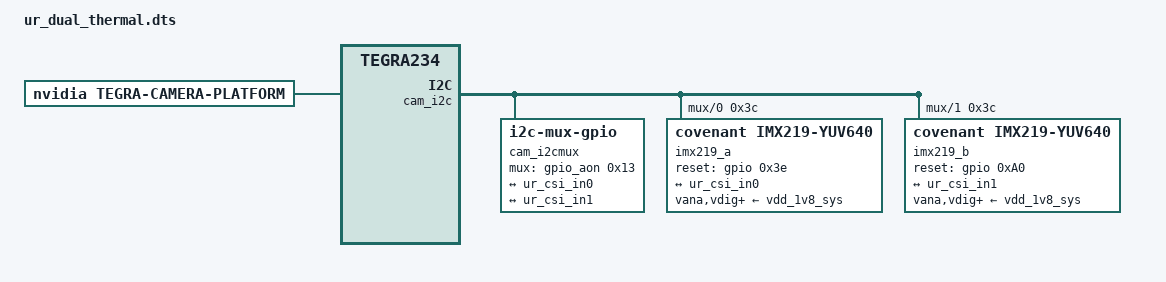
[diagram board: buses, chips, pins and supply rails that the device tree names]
/dts-v1/;
/plugin/;

/ {
    overlay-name = "UR Series Thermal Camera Dual";
    jetson-header-name = "Jetson 24pin CSI Connector";
    compatible = "nvidia,p3768-0000+p3767-0005-super", "nvidia,p3767-0005", "nvidia,tegra234";

    /* =========================================================
     * Fragment 0: VI + CSI + tegra-camera-platform + cam_i2cmux
     * All in one fragment targeting "/" exactly like the
     * NVIDIA reference IMX219 dual overlay.
     * ========================================================= */
    fragment@0 {
        target-path = "/";
        __overlay__ {

            /* --- Video Input --- */
            tegra-capture-vi {
                num-channels = <2>;
                ports {
                    #address-cells = <1>;
                    #size-cells = <0>;

                    port@0 {
                        reg = <0>;
                        ur_vi_in0: endpoint {
                            port-index = <1>; /* CSI B - CAM0 */
                            bus-width = <2>;
                            remote-endpoint = <&ur_csi_out0>;
                        };
                    };

                    port@1 {
                        reg = <1>;
                        ur_vi_in1: endpoint {
                            port-index = <2>; /* CSI C - CAM1 */
                            bus-width = <2>;
                            remote-endpoint = <&ur_csi_out1>;
                        };
                    };
                };
            };

            bus@0 {

                /* --- CSI --- */
                host1x@13e00000 {
                    nvcsi@15a00000 {
                        num-channels = <2>;
                        #address-cells = <1>;
                        #size-cells = <0>;

                        channel@0 {
                            reg = <0>;
                            ports {
                                #address-cells = <1>;
                                #size-cells = <0>;
                                port@0 {
                                    reg = <0>;
                                    ur_csi_in0: endpoint@0 {
                                        port-index = <1>; /* CSI B */
                                        bus-width = <2>;
                                        remote-endpoint = <&ur_out0>;
                                    };
                                };
                                port@1 {
                                    reg = <1>;
                                    ur_csi_out0: endpoint@1 {
                                        remote-endpoint = <&ur_vi_in0>;
                                    };
                                };
                            };
                        };

                        channel@1 {
                            reg = <1>;
                            ports {
                                #address-cells = <1>;
                                #size-cells = <0>;
                                port@0 {
                                    reg = <0>;
                                    ur_csi_in1: endpoint@2 {
                                        port-index = <2>; /* CSI C */
                                        bus-width = <2>;
                                        remote-endpoint = <&ur_out1>;
                                    };
                                };
                                port@1 {
                                    reg = <1>;
                                    ur_csi_out1: endpoint@3 {
                                        remote-endpoint = <&ur_vi_in1>;
                                    };
                                };
                            };
                        };
                    };
                };

                /*
                 * cam_i2cmux — GPIO-controlled I2C MUX
                 *
                 * This is the key: both camera connectors share
                 * i2c@3180000 (cam_i2c). The MUX switches between
                 * CAM0 (i2c@0) and CAM1 (i2c@1) using gpio_aon pin 0x13.
                 *
                 * When mux-gpio = 0 → i2c@0 = CAM0
                 * When mux-gpio = 1 → i2c@1 = CAM1
                 *
                 * Both sensors have the same I2C address 0x3c but are
                 * on separate MUX channels so no collision occurs.
                 */
                cam_i2cmux {
                    status = "okay";
                    compatible = "i2c-mux-gpio";
                    #address-cells = <1>;
                    #size-cells = <0>;
                    i2c-parent = <&cam_i2c>;
                    mux-gpios = <&gpio_aon 0x13 0x00>;

                    /* CAM0 channel */
                    i2c@0 {
                        status = "okay";
                        reg = <0>;
                        #address-cells = <1>;
                        #size-cells = <0>;

                        imx219_a@3c {
                            compatible = "covenant,imx219-yuv640";
                            reg = <0x3c>;
                            status = "okay";
                            devnode = "video0";
                            physical_w = "3.680";
                            physical_h = "2.760";
                            use_sensor_mode_id = "false";
                            reset-gpios = <&gpio 0x3e 0x00>;  /* PH.06 - CAM0_PWDN */

                            clocks = <&bpmp 13>, <&bpmp 104>;
                            clock-names = "extperiph1", "pll_p_out0";
                            mclk = "extperiph1";
                            assigned-clocks = <&bpmp 13>;
                            assigned-clock-rates = <24000000>;

                            vana-supply = <&vdd_1v8_sys>;
                            vdig-supply = <&vdd_1v8_sys>;
                            vddl-supply = <&vdd_1v8_sys>;

                            mode0 {
                                mclk_khz = "24000";
                                num_lanes = "2";
                                tegra_sinterface = "serial_b";
                                phy_mode = "DPHY";
                                discontinuous_clk = "false";
                                dpcm_enable = "false";
                                cil_settletime = "0";
                                lane_polarity = "6";
                                active_w = "640";
                                active_h = "514";
                                mode_type = "yuv";
                                pixel_phase = "yuyv";
                                csi_pixel_bit_depth = "16";
                                readout_orientation = "0";
                                line_length = "2200";
                                inherent_gain = "1";
                                mclk_multiplier = "2";
                                pix_clk_hz = "100000000";
                                gain_factor = "16";
                                framerate_factor = "1000000";
                                exposure_factor = "1000000";
                                min_gain_val = "16";
                                max_gain_val = "170";
                                step_gain_val = "1";
                                default_gain = "16";
                                min_hdr_ratio = "1";
                                max_hdr_ratio = "1";
                                min_framerate = "2000000";
                                max_framerate = "30000000";
                                step_framerate = "1000000";
                                default_framerate = "30000000";
                                min_exp_time = "13";
                                max_exp_time = "333333";
                                step_exp_time = "1";
                                default_exp_time = "2495";
                                embedded_metadata_height = "0";
                            };

                            ports {
                                #address-cells = <1>;
                                #size-cells = <0>;
                                port@0 {
                                    reg = <0>;
                                    ur_out0: endpoint {
                                        port-index = <1>; /* CSI B */
                                        bus-width = <2>;
                                        remote-endpoint = <&ur_csi_in0>;
                                        link-frequencies = /bits/ 64 <400000000>;
                                    };
                                };
                            };
                        };
                    };

                    /* CAM1 channel */
                    i2c@1 {
                        status = "okay";
                        reg = <1>;
                        #address-cells = <1>;
                        #size-cells = <0>;

                        imx219_b@3c {
                            compatible = "covenant,imx219-yuv640";
                            reg = <0x3c>;
                            status = "okay";
                            devnode = "video1";
                            physical_w = "3.680";
                            physical_h = "2.760";
                            use_sensor_mode_id = "false";
                            reset-gpios = <&gpio 0xA0 0x00>;  /* PAC.00 - CAM1_PWDN */

                            clocks = <&bpmp 13>, <&bpmp 104>;
                            clock-names = "extperiph1", "pll_p_out0";
                            mclk = "extperiph1";
                            assigned-clocks = <&bpmp 13>;
                            assigned-clock-rates = <24000000>;

                            vana-supply = <&vdd_1v8_sys>;
                            vdig-supply = <&vdd_1v8_sys>;
                            vddl-supply = <&vdd_1v8_sys>;

                            mode0 {
                                mclk_khz = "24000";
                                num_lanes = "2";
                                tegra_sinterface = "serial_c";
                                phy_mode = "DPHY";
                                discontinuous_clk = "false";
                                dpcm_enable = "false";
                                cil_settletime = "0";
                                lane_polarity = "6";
                                active_w = "640";
                                active_h = "514";
                                mode_type = "yuv";
                                pixel_phase = "yuyv";
                                csi_pixel_bit_depth = "16";
                                readout_orientation = "0";
                                line_length = "2200";
                                inherent_gain = "1";
                                mclk_multiplier = "2";
                                pix_clk_hz = "100000000";
                                gain_factor = "16";
                                framerate_factor = "1000000";
                                exposure_factor = "1000000";
                                min_gain_val = "16";
                                max_gain_val = "170";
                                step_gain_val = "1";
                                default_gain = "16";
                                min_hdr_ratio = "1";
                                max_hdr_ratio = "1";
                                min_framerate = "2000000";
                                max_framerate = "30000000";
                                step_framerate = "1000000";
                                default_framerate = "30000000";
                                min_exp_time = "13";
                                max_exp_time = "333333";
                                step_exp_time = "1";
                                default_exp_time = "2495";
                                embedded_metadata_height = "0";
                            };

                            ports {
                                #address-cells = <1>;
                                #size-cells = <0>;
                                port@0 {
                                    reg = <0>;
                                    ur_out1: endpoint {
                                        port-index = <2>; /* CSI C */
                                        bus-width = <2>;
                                        remote-endpoint = <&ur_csi_in1>;
                                        link-frequencies = /bits/ 64 <400000000>;
                                    };
                                };
                            };
                        };
                    };
                };

                /* --- tegra-camera-platform --- */
                tegra-camera-platform {
                    compatible = "nvidia, tegra-camera-platform";
                    isp_peak_byte_per_pixel = <0>;
                    isp_bw_margin_pct = <0>;

                    modules {
                        module0 {
                            badge = "ur_cam0";
                            position = "front";
                            orientation = "1";
                            drivernode0 {
                                pcl_id = "v4l2_sensor";
                                sysfs-device-tree = "/sys/firmware/devicetree/base/bus@0/cam_i2cmux/i2c@0/imx219_a@3c";
                            };
                        };

                        module1 {
                            badge = "ur_cam1";
                            position = "rear";
                            orientation = "1";
                            drivernode0 {
                                pcl_id = "v4l2_sensor";
                                sysfs-device-tree = "/sys/firmware/devicetree/base/bus@0/cam_i2cmux/i2c@1/imx219_b@3c";
                            };
                        };
                    };
                };
            };
        };
    };
};

